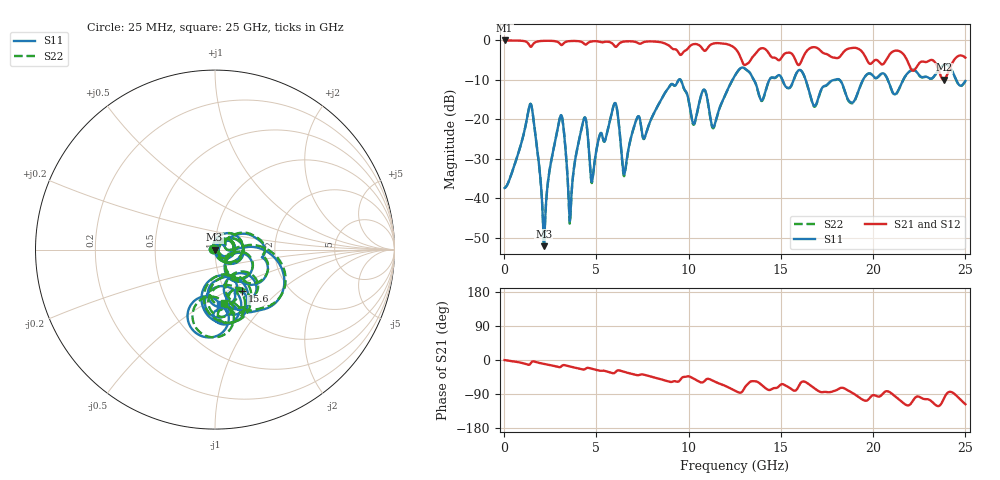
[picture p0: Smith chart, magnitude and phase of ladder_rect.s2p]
! R_s4_rect_n1: kisi's ladder with the plane pair as a finite cavity (rect) (Finite board 24 × 16 mm, via L1 → L4 through the L2/L3 cavity, one GND via 2 mm away)
# Hz S RI R 50
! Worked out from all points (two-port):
!   1000 points, 25 MHz to 25 GHz, reference 50 ohm
!   highest |S21| = -0.12 dB at 25 MHz (marker M1); lowest = -10.0 dB at 23.82 GHz (marker M2)
!   |S21| within 3 dB of the highest: start of sweep to 9.443 GHz; 9.703 GHz to 12.68 GHz (2.979 GHz wide, 26.6 % of centre)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
!   lowest |S11| = -52.0 dB at 2.15 GHz (marker M3), VSWR 1.01, Z = 49.8 - j0.0819 ohm
!   |S11| at or under -10 dB: start of sweep to 9.475 GHz; 9.555 GHz to 12.39 GHz (2.83 GHz wide, 25.8 % of centre); 16.34 GHz to 17.95 GHz (1.613 GHz wide, 9.41 % of centre)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
!   |S22| runs from -51.7 to -6.2 dB; largest |S21 - S12| = 0
!   S11 on the Smith chart (normalised r, x): 25 MHz: 0.97, +0.00; 15.6 GHz: 1.19, -0.60; 25 GHz: 0.87, -0.58
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2.5e7  -0.0135 0.000985  0.9865 -0.00302  0.9865 -0.00302  -0.0135 0.000984
1.425e9  0.1547 0.0237  0.8113 -0.1396  0.8113 -0.1396  0.1546 0.0245
2.15e9  -0.00236 -0.000823  0.9599 -0.1729  0.9599 -0.1729  -0.00248 -0.000804
3.025e9  0.0944 0.0463  0.8478 -0.29  0.8478 -0.29  0.0937 0.0474
3.575e9  0.00493 0.00184  0.9256 -0.2877  0.9256 -0.2877  0.00456 0.00203
4.2e9  0.0538 0.0553  0.8608 -0.3899  0.8608 -0.3899  0.0525 0.0563
4.775e9  0.0159 0.00539  0.882 -0.3823  0.882 -0.3823  0.0152 0.00593
6.025e9  0.158 -0.0259  0.693 -0.442  0.693 -0.442  0.1578 -0.0221
6.525e9  0.0205 0.00123  0.8147 -0.5031  0.8147 -0.5031  0.0195 0.00229
7.175e9  0.0873 0.0492  0.719 -0.5971  0.719 -0.5971  0.085 0.0522
8.35e9  0.1249 0.0847  0.6253 -0.7102  0.6253 -0.7102  0.1212 0.0895
9.525e9  0.2814 -0.1516  0.3875 -0.5282  0.3875 -0.5282  0.2853 -0.1411
1.025e10  0.0661 -0.0577  0.5822 -0.6658  0.5822 -0.6658  0.0666 -0.0538
1.135e10  0.072 -0.0341  0.5114 -0.7447  0.5114 -0.7447  0.0718 -0.0292
1.2525e10  0.3534 -0.0717  0.1169 -0.7701  0.1169 -0.7701  0.3557 -0.0544
1.56e10  0.1506 -0.2325  0.1399 -0.653  0.1399 -0.653  0.1616 -0.2219
1.6675e10  -0.0264 -0.1687  0.2815 -0.7545  0.2815 -0.7545  -0.0186 -0.1668
1.95e10  0.1852 -0.2724  -0.187 -0.6333  -0.187 -0.6333  0.202 -0.2577
2.085e10  -0.0557 -0.286  0.0715 -0.6323  0.0715 -0.6323  -0.0373 -0.2863
2.1725e10  0.1463 -0.312  -0.2811 -0.5552  -0.2811 -0.5552  0.1677 -0.299
2.3825e10  0.00627 -0.4824  -0.0686 -0.3083  -0.0686 -0.3083  0.0419 -0.4788
2.5e10  0.026 -0.3028  -0.268 -0.5352  -0.268 -0.5352  0.0495 -0.2979
